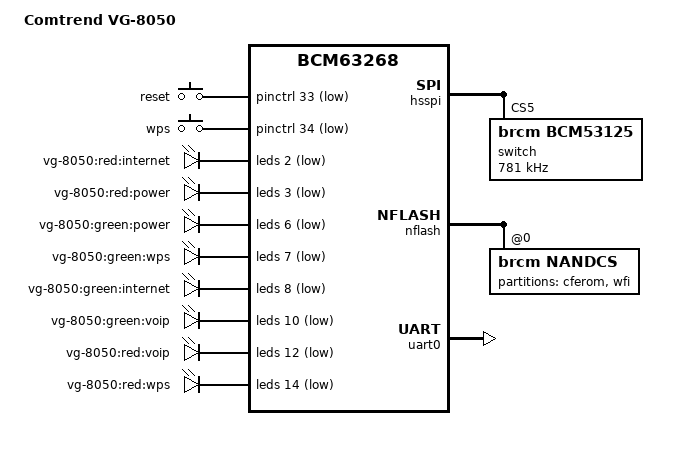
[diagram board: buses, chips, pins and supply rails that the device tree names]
// SPDX-License-Identifier: GPL-2.0-or-later

/dts-v1/;

#include "bcm63268.dtsi"

#include <dt-bindings/input/input.h>

/ {
	model = "Comtrend VG-8050";
	compatible = "comtrend,vg-8050", "brcm,bcm63169", "brcm,bcm63268";

	aliases {
		led-boot = &led_power_green;
		led-failsafe = &led_power_green;
		led-running = &led_power_green;
		led-upgrade = &led_power_green;
	};

	chosen {
		bootargs = "rootfstype=squashfs,ubifs noinitrd console=ttyS0,115200";
		stdout-path = "serial0:115200n8";
	};

	keys {
		compatible = "gpio-keys-polled";
		#address-cells = <1>;
		#size-cells = <0>;
		poll-interval = <20>;

		reset {
			label = "reset";
			gpios = <&pinctrl 33 1>;
			linux,code = <KEY_RESTART>;
			debounce-interval = <60>;
		};

		wps {
			label = "wps";
			gpios = <&pinctrl 34 1>;
			linux,code = <KEY_WPS_BUTTON>;
			debounce-interval = <60>;
		};
	};
};

&leds {
	status = "okay";
	brcm,serial-leds;
	brcm,serial-dat-low;
	brcm,serial-shift-inv;

	pinctrl-names = "default";
	pinctrl-0 = <&pinctrl_serial_led>;

	led@2 {
		reg = <2>;
		active-low;
		label = "vg-8050:red:internet";
	};

	led@3 {
		reg = <3>;
		active-low;
		label = "vg-8050:red:power";
	};

	led_power_green: led@6 {
		reg = <6>;
		active-low;
		label = "vg-8050:green:power";
		default-state = "on";
	};

	led@7 {
		reg = <7>;
		active-low;
		label = "vg-8050:green:wps";
	};

	led@8 {
		reg = <8>;
		active-low;
		label = "vg-8050:green:internet";
	};

	led@10 {
		reg = <10>;
		active-low;
		label = "vg-8050:green:voip";
	};

	led@12 {
		reg = <12>;
		active-low;
		label = "vg-8050:red:voip";
	};

	led@14 {
		reg = <14>;
		active-low;
		label = "vg-8050:red:wps";
	};
};

&hsspi {
	pinctrl-names = "default";
	pinctrl-0 = <&pinctrl_hsspi_cs5>;

	switch@5 {
		compatible = "brcm,bcm53125";
		reg = <5>;
		spi-max-frequency = <781000>;
		spi-cpha;
		spi-cpol;

		lede,alias = "eth0";

		ports {
			#address-cells = <1>;
			#size-cells = <0>;

			lan@0 {
				reg = <0>;
				label = "lan4";
			};

			lan@1 {
				reg = <1>;
				label = "lan3";
			};

			lan@2 {
				reg = <2>;
				label = "lan2";
			};

			lan@3 {
				reg = <3>;
				label = "lan1";
			};

			wan@4 {
				reg = <4>;
				label = "wan";
			};

			cpu@8 {
				reg = <8>;
				label = "cpu";

				fixed-link {
					speed = <1000>;
					full-duplex;
					asym-pause;
					pause;
				};
			};
		};
	};
};

&nflash {
	status = "okay";

	nandcs@0 {
		compatible = "brcm,nandcs";
		#size-cells = <1>;
		#address-cells = <1>;
		reg = <0>;
		nand-ecc-step-size = <512>;
		nand-ecc-strength = <15>;
		nand-on-flash-bbt;
		brcm,nand-oob-sector-size = <64>;

		partitions {
			compatible = "fixed-partitions";
			#address-cells = <1>;
			#size-cells = <1>;

			partition@0 {
				label = "cferom";
				reg = <0x0000000 0x0020000>;
				read-only;
			};

			partition@20000 {
				compatible = "brcm,wfi-split";
				label = "wfi";
				reg = <0x0020000 0x7ac0000>;
			};
		};
	};
};

&uart0 {
	status = "okay";
};
